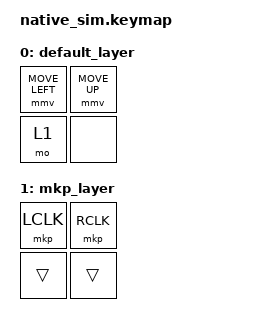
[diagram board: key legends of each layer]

#include <dt-bindings/zmk/input_transform.h>
#include <zephyr/dt-bindings/input/input-event-codes.h>

#include <behaviors.dtsi>
#include <input/processors.dtsi>
#include <dt-bindings/zmk/keys.h>
#include <dt-bindings/zmk/input_mock.h>
#include <dt-bindings/zmk/pointing.h>

&mmv_input_listener {
    input-processors = <&zip_temp_layer 1 500>;
};

/ {
    keymap {
        compatible = "zmk,keymap";
        label ="Default keymap";

        default_layer {
            bindings = <
                &mmv MOVE_LEFT &mmv MOVE_UP
                &mo 1 &none
            >;
        };

        mkp_layer {
            bindings = <&mkp LCLK &mkp RCLK &trans &trans>;
        };
    };
};


&mock_input {
    events = <
        ZMK_INPUT_MOCK_PRESS(0,0,100)
        ZMK_INPUT_MOCK_RELEASE(0,0,150)
        ZMK_INPUT_MOCK_PRESS(1,0,100)
        ZMK_INPUT_MOCK_RELEASE(1,0,100)
        ZMK_INPUT_MOCK_PRESS(0,0,100)
        ZMK_INPUT_MOCK_RELEASE(0,0,150)
    >;
};
